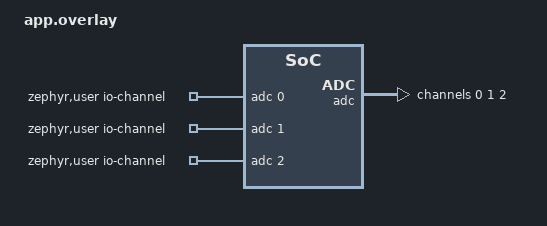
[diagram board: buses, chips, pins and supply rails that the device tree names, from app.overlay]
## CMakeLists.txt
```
cmake_minimum_required(VERSION 3.20.0)
find_package(Zephyr REQUIRED HINTS $ENV{ZEPHYR_BASE})

project(Tietoliikenteen-sovellusprojekti)

target_sources(app PRIVATE src/main.c)
```

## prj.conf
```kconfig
CONFIG_GPIO=y
CONFIG_ADC=y
CONFIG_PRINTK=y
CONFIG_SERIAL=y
CONFIG_CONSOLE=y
CONFIG_UART_CONSOLE=y
```

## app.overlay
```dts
/ {
    zephyr,user {
        io-channels = <&adc 0>, <&adc 1>, <&adc 2>;
    };
};

&adc {
    status = "okay";
    #address-cells = <1>;
    #size-cells = <0>;
    channel@0 {
        reg = <0>;
        zephyr,gain = "ADC_GAIN_1_6";
        zephyr,reference = "ADC_REF_INTERNAL";
        zephyr,acquisition-time = <ADC_ACQ_TIME_DEFAULT>;
        zephyr,input-positive = <NRF_SAADC_AIN0>;
        zephyr,resolution = <12>;
    };

    channel@1 {
        reg = <1>;
        zephyr,gain = "ADC_GAIN_1_6";
        zephyr,reference = "ADC_REF_INTERNAL";
        zephyr,acquisition-time = <ADC_ACQ_TIME_DEFAULT>;
        zephyr,input-positive = <NRF_SAADC_AIN1>;
        zephyr,resolution = <12>;
    };

    channel@2 {
        reg = <2>;
        zephyr,gain = "ADC_GAIN_1_6";
        zephyr,reference = "ADC_REF_INTERNAL";
        zephyr,acquisition-time = <ADC_ACQ_TIME_DEFAULT>;
        zephyr,input-positive = <NRF_SAADC_AIN2>;
        zephyr,resolution = <12>;
    };
};
```

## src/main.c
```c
#include <zephyr/kernel.h>
#include <zephyr/device.h>
#include <zephyr/drivers/adc.h>
#include <zephyr/sys/printk.h>

#define DT_SPEC_AND_COMMA(node_id, prop, idx) \
    ADC_DT_SPEC_GET_BY_IDX(node_id, idx),

static const struct adc_dt_spec channels[] = {
    DT_FOREACH_PROP_ELEM(DT_PATH(zephyr_user),
                         io_channels, DT_SPEC_AND_COMMA)
};

int main(void)
{
    int16_t sample;
    int32_t values[3];

    printk("ADXL335 mittaus alkaa\n");

    for (int i = 0; i < 3; i++) {
        if (!adc_is_ready_dt(&channels[i])) {
            printk("ADC ei ole valmis\n");
            return 0;
        }

        if (adc_channel_setup_dt(&channels[i]) < 0) {
            printk("ADC-kanavan alustus epaonnistui\n");
            return 0;
        }
    }

    while (1) {
        for (int i = 0; i < 3; i++) {
            struct adc_sequence sequence = {
                .buffer = &sample,
                .buffer_size = sizeof(sample),
            };

            if (adc_sequence_init_dt(&channels[i],
                                     &sequence) < 0 ||
                adc_read_dt(&channels[i], &sequence) < 0) {
                printk("ADC-luku epaonnistui\n");
                return 0;
            }

            values[i] = sample;

            if (adc_raw_to_millivolts_dt(&channels[i],
                                         &values[i]) < 0) {
                printk("Muunnos epaonnistui\n");
                return 0;
            }
        }

        printk("X: %d mV, Y: %d mV, Z: %d mV\n",
               (int)values[0],
               (int)values[1],
               (int)values[2]);

        k_msleep(500);
    }
}
```
